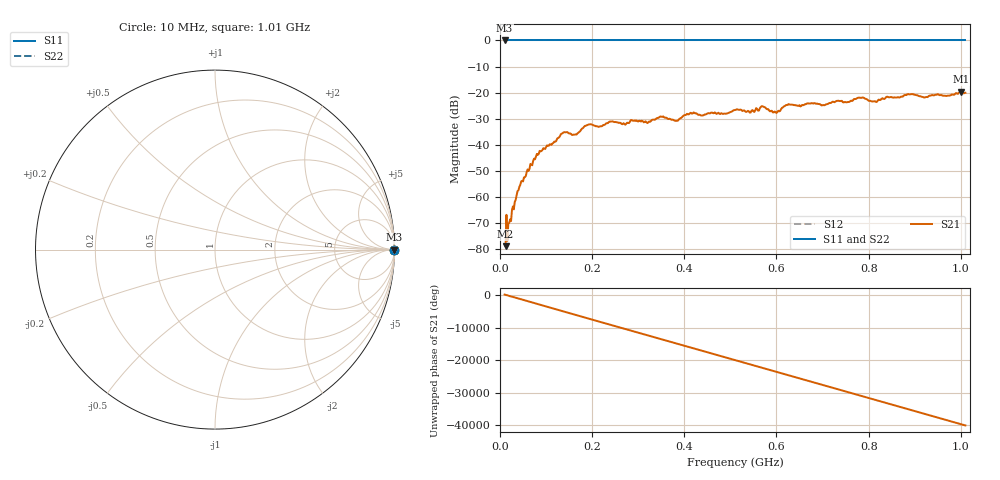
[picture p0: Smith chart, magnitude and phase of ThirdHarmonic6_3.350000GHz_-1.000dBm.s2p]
! 8/17/2025 10:34:25 AM
! C:\ANRITSUVNA\TEMP\TEMP.S2P
! CHANNEL.1
! TR.MEASUREMENT
! RAW.DATA
! RF.CORRECTION.OFF
! AVERAGING.OFF
! IF.BANDWIDTH: 5KHZ
! SWEEPTYPE:  FREQ.SWEEP(Linear)
! Reference Plane Port Info
! PORT:  PORT1  PORT2
! DISTANCE:  0  m  0  m
! TIME:  0  s  0  s
! PHASE.OFFSET:  0  deg.  0  deg.
! LOSS:  0  dB  0  dB
! REF.LOSS:  0  dB  0  dB
! REF.FREQ:  0  Hz  0  Hz
! Power Info
! POWER:  -20  dBm  -20  dBm
! EFF.POWER:  -20  dBm  -20  dBm
! SOURCE.ATTEN:  0  dB  0  dB
! TEST.ATTEN:  0  dB  0  dB
# GHZ S RI R 50.0
! FREQ.GHZ  S11RE  S11IM  S21RE  S21IM  S12RE  S12IM  S22RE  S22IM
!; PortSelection: Port_12
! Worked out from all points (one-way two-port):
!   501 points, 10 MHz to 1.01 GHz, reference 50 ohm
!   highest |S21| = -19.70 dB at 1 GHz (marker M1); lowest = -79.0 dB at 12 MHz (marker M2)
!   lowest |S11| = 0.0 dB at 10 MHz (marker M3)
!   |S11| at or under -10 dB: nowhere
!   |S22| runs from 0.0 to 0.0 dB; largest |S21 - S12| = 1.1
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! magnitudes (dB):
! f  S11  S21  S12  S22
! 10 MHz  0.0  -78.3  0.0  0.0
! 12 MHz  0.0  -79.0  0.0  0.0
! 18 MHz  0.0  -70.3  0.0  0.0
! 20 MHz  0.0  -70.1  0.0  0.0
! 42 MHz  0.0  -56.2  0.0  0.0
! 76 MHz  0.0  -45.6  0.0  0.0
! 136 MHz  0.0  -35.6  0.0  0.0
! 162 MHz  0.0  -36.2  0.0  0.0
! 178 MHz  0.0  -33.9  0.0  0.0
! 344 MHz  0.0  -29.7  0.0  0.0
! 382 MHz  0.0  -30.9  0.0  0.0
! 416 MHz  0.0  -28.1  0.0  0.0
! 510 MHz  0.0  -26.7  0.0  0.0
! 540 MHz  0.0  -27.2  0.0  0.0
! 570 MHz  0.0  -25.3  0.0  0.0
! 598 MHz  0.0  -27.5  0.0  0.0
! 624 MHz  0.0  -24.8  0.0  0.0
! 678 MHz  0.0  -24.1  0.0  0.0
! 814 MHz  0.0  -23.3  0.0  0.0
! 844 MHz  0.0  -21.8  0.0  0.0
! 1 GHz  0.0  -19.7  0.0  0.0
! 1.01 GHz  0.0  -20.1  0.0  0.0
